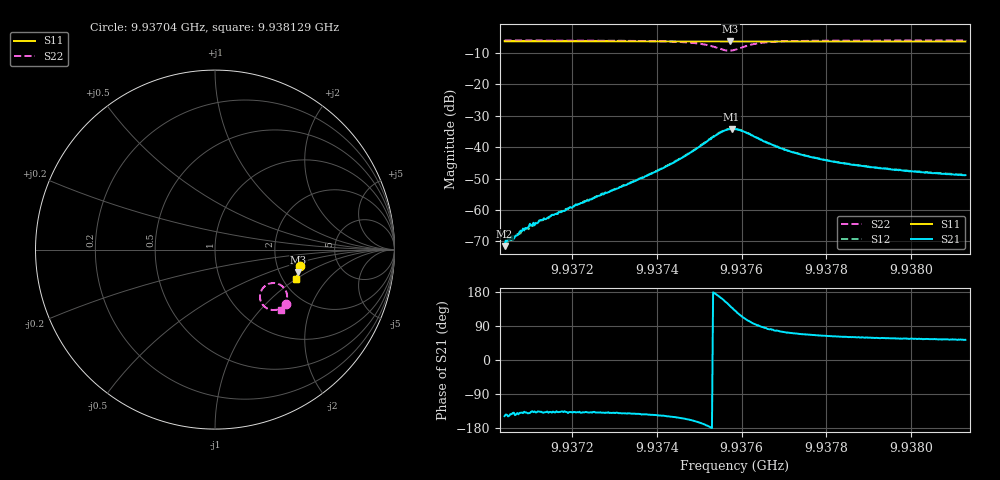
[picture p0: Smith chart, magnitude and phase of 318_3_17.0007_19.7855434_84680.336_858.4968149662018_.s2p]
#  HZ  S  RI  R  50.00
! Rohde & Schwarz Vector Network Analyzer
! Rohde-Schwarz,ZNB20-2Port,1311601062101988,3.16
! Created: UTC 3/20/2024, 11:06:18 PM
! freq[Hz]  re:S11  im:S11  re:S21  im:S21  re:S12  im:S12  re:S22  im:S22
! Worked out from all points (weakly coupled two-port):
!   401 points, 9.93704 GHz to 9.938129 GHz, reference 50 ohm
!   highest |S21| = -34.21 dB at 9.937576 GHz (marker M1); lowest = -71.5 dB at 9.93704 GHz (marker M2)
!   lowest |S11| = -6.4 dB at 9.937573 GHz (marker M3), VSWR 2.85, Z = 127 - j41.2 ohm
!   |S11| at or under -10 dB: nowhere
!   |S22| runs from -9.3 to -6.0 dB; largest |S21 - S12| = 0.00086
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9.9370395e9  0.4761 -0.0906  -0.000226 -0.000142  -0.000209 -0.000165  0.3965 -0.3021
9.9370477e9  0.476 -0.0911  -0.000296 -0.00018  -0.000257 -0.000181  0.396 -0.3026
9.937064e9  0.4755 -0.0923  -0.000309 -0.000212  -0.000309 -0.000264  0.395 -0.3036
9.9370776e9  0.4752 -0.0933  -0.000356 -0.000307  -0.000336 -0.000261  0.3941 -0.3048
9.9370858e9  0.4752 -0.0936  -0.000344 -0.000326  -0.000371 -0.000336  0.3935 -0.3053
9.9371022e9  0.4748 -0.0948  -0.000412 -0.00039  -0.000419 -0.000377  0.3922 -0.3065
9.9371185e9  0.4746 -0.0959  -0.000447 -0.00044  -0.000481 -0.000441  0.391 -0.3075
9.937222e9  0.4726 -0.103  -0.000972 -0.000856  -0.000967 -0.000872  0.3819 -0.3159
9.9374045e9  0.4688 -0.1152  -0.00359 -0.00241  -0.00368 -0.00238  0.3501 -0.3335
9.9374617e9  0.4672 -0.1192  -0.00623 -0.00301  -0.00641 -0.00294  0.3253 -0.3372
9.9375108e9  0.4657 -0.1223  -0.0112 -0.00211  -0.0114 -0.00194  0.2846 -0.3246
9.9375462e9  0.4642 -0.1242  -0.0162 0.00333  -0.0165 0.00386  0.2514 -0.2744
9.9375734e9  0.4635 -0.125  -0.0151 0.0119  -0.015 0.0127  0.2725 -0.2083
9.9375761e9  0.4635 -0.125  -0.0146 0.0129  -0.0145 0.0135  0.2784 -0.203
9.9375843e9  0.4635 -0.1252  -0.0126 0.0148  -0.0122 0.0154  0.2978 -0.1914
9.9376034e9  0.4637 -0.1263  -0.00691 0.0165  -0.00647 0.0169  0.3445 -0.1885
9.9376415e9  0.4638 -0.1288  -1.49e-05 0.0136  0.00045 0.0135  0.3921 -0.2251
9.937696e9  0.463 -0.1329  0.00251 0.00914  0.00267 0.0092  0.4019 -0.2656
9.9377668e9  0.4614 -0.1379  0.0028 0.0063  0.00297 0.00631  0.3966 -0.2914
9.9378622e9  0.4592 -0.1443  0.00258 0.00457  0.00273 0.0046  0.3877 -0.3092
9.9379493e9  0.4569 -0.1498  0.0024 0.00376  0.00251 0.00376  0.3807 -0.3194
9.9381291e9  0.4522 -0.1614  0.00215 0.00288  0.00221 0.00288  0.3684 -0.3343
